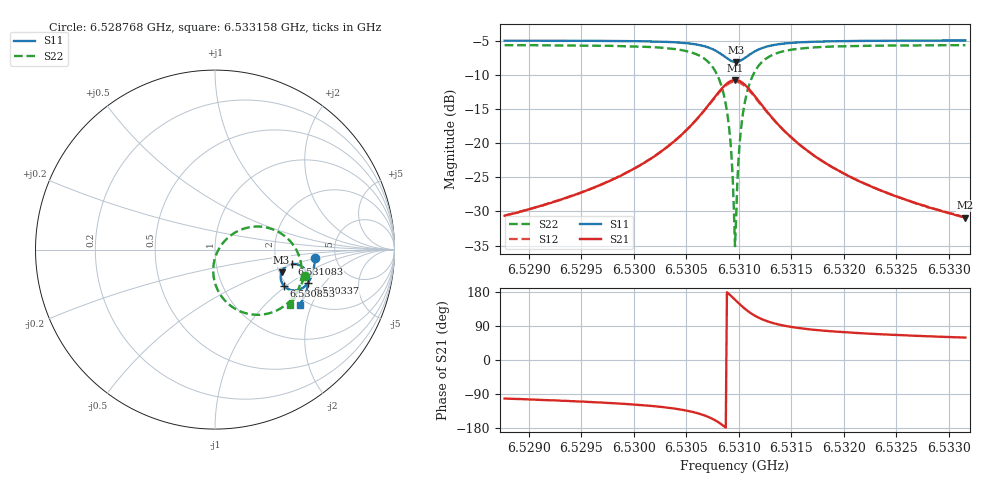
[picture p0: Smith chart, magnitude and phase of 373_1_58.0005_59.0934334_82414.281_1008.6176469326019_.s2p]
#  HZ  S  RI  R  50.00
! Rohde & Schwarz Vector Network Analyzer
! Rohde-Schwarz,ZNB20-2Port,1311601062101988,3.16
! Created: UTC 3/21/2024, 1:07:00 AM
! freq[Hz]  re:S11  im:S11  re:S21  im:S21  re:S12  im:S12  re:S22  im:S22
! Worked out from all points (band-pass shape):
!   401 points, 6.528768 GHz to 6.533158 GHz, reference 50 ohm
!   highest |S21| = -10.76 dB at 6.530963 GHz (marker M1); lowest = -30.9 dB at 6.533158 GHz (marker M2)
!   |S21| within 3 dB of the highest: 6.530744 GHz to 6.531184 GHz (439.1 kHz wide, 0.00672 % of centre)
!   lowest |S11| = -8.1 dB at 6.530974 GHz (marker M3), VSWR 2.29, Z = 103 - j30.6 ohm
!   |S11| at or under -10 dB: nowhere
!   |S22| runs from -35.1 to -5.7 dB; largest |S21 - S12| = 0.011
!   S11 on the Smith chart (normalised r, x): 6.528768 GHz: 3.49, -0.46; 6.530337 GHz: 2.59, -1.39; 6.530853 GHz: 1.93, -0.97; 6.531083 GHz: 2.42, -0.48; 6.533158 GHz: 1.82, -1.65
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6.5287678e9  0.5595 -0.0453  -0.00598 -0.0288  -0.00651 -0.0287  0.4993 -0.1483
6.5295031e9  0.5504 -0.1055  -0.0149 -0.041  -0.0156 -0.0409  0.4707 -0.2152
6.5302384e9  0.5235 -0.1765  -0.0461 -0.0706  -0.0481 -0.0695  0.394 -0.3079
6.5303371e9  0.5157 -0.188  -0.0571 -0.0775  -0.0591 -0.076  0.3711 -0.3243
6.5306883e9  0.4528 -0.2276  -0.1532 -0.0956  -0.1554 -0.0899  0.1879 -0.3585
6.5307871e9  0.4139 -0.2232  -0.2137 -0.0724  -0.2133 -0.0641  0.0847 -0.311
6.5308529e9  0.3849 -0.2032  -0.2569 -0.0284  -0.2529 -0.0191  0.0175 -0.2302
6.5309078e9  0.3681 -0.1722  -0.2788 0.0316  -0.2711 0.0393  -0.00978 -0.1262
6.5309188e9  0.3666 -0.1647  -0.2799 0.0458  -0.2717 0.0525  -0.0097 -0.103
6.5309517e9  0.3668 -0.1411  -0.2753 0.089  -0.2657 0.0935  0.00495 -0.0326
6.5309627e9  0.3686 -0.1333  -0.2708 0.103  -0.261 0.1067  0.0145 -0.01
6.5309736e9  0.3712 -0.1256  -0.2648 0.1166  -0.2551 0.1193  0.0262 0.0114
6.5309846e9  0.3747 -0.1185  -0.2576 0.1297  -0.248 0.1314  0.04 0.0316
6.5310066e9  0.3836 -0.1055  -0.24 0.1526  -0.231 0.1529  0.0726 0.0666
6.5310175e9  0.3889 -0.0999  -0.23 0.1625  -0.2212 0.1621  0.0909 0.0813
6.5310505e9  0.407 -0.0874  -0.1964 0.1849  -0.1891 0.183  0.1499 0.1131
6.5310834e9  0.4263 -0.081  -0.1617 0.1968  -0.1562 0.194  0.2092 0.1272
6.5311602e9  0.4652 -0.0843  -0.0935 0.195  -0.0906 0.1925  0.3241 0.1122
6.5312699e9  0.4979 -0.1071  -0.0358 0.1652  -0.0345 0.1638  0.4181 0.0479
6.5316979e9  0.5196 -0.1828  0.0142 0.0816  0.015 0.0814  0.4832 -0.1295
6.5324332e9  0.4996 -0.2555  0.0168 0.0391  0.0174 0.0389  0.4556 -0.2451
6.5331575e9  0.4715 -0.3085  0.0146 0.0245  0.0153 0.0243  0.4204 -0.3071
